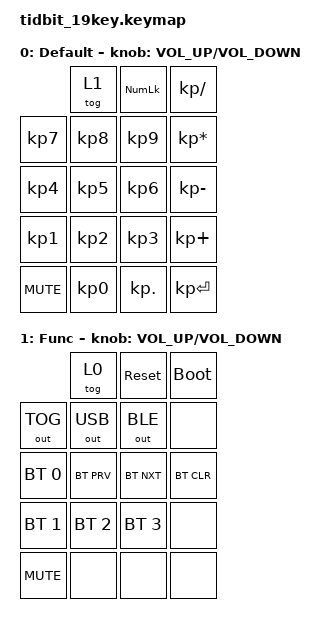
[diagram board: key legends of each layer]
/*
 * Copyright (c) 2020 The ZMK Contributors
 *
 * SPDX-License-Identifier: MIT
 */

#include "tidbit.dtsi"
#include <behaviors.dtsi>
#include <dt-bindings/zmk/keys.h>
#include <dt-bindings/zmk/bt.h>
#include <dt-bindings/zmk/outputs.h>

&encoder_4 {
    status = "okay";
};

/ {
    sensors {
        compatible = "zmk,keymap-sensors";
        sensors = <&encoder_4>;
    };

    keymap {
        compatible = "zmk,keymap";

        default_layer {
            display-name = "Default";
            bindings = <
                                &tog 1          &kp KP_NUMLOCK  &kp KP_SLASH
                &kp KP_NUMBER_7 &kp KP_NUMBER_8 &kp KP_NUMBER_9 &kp KP_ASTERISK
                &kp KP_NUMBER_4 &kp KP_NUMBER_5 &kp KP_NUMBER_6 &kp KP_MINUS
                &kp KP_NUMBER_1 &kp KP_NUMBER_2 &kp KP_NUMBER_3 &kp KP_PLUS
                &kp C_MUTE      &kp KP_NUMBER_0 &kp KP_DOT      &kp KP_ENTER
            >;

            sensor-bindings = <&inc_dec_kp C_VOLUME_UP C_VOLUME_DOWN>;
        };

         func_layer {
             display-name = "Func";
             bindings = <
                                &tog 0          &sys_reset          &bootloader
                &out OUT_TOG    &out OUT_USB    &out OUT_BLE    &none
                &bt BT_SEL 0    &bt BT_PRV      &bt BT_NXT      &bt BT_CLR
                &bt BT_SEL 1    &bt BT_SEL 2    &bt BT_SEL 3    &none
                &kp C_MUTE      &none           &none           &none
             >;

            sensor-bindings = <&inc_dec_kp C_VOLUME_UP C_VOLUME_DOWN>;
         };
    };
};
